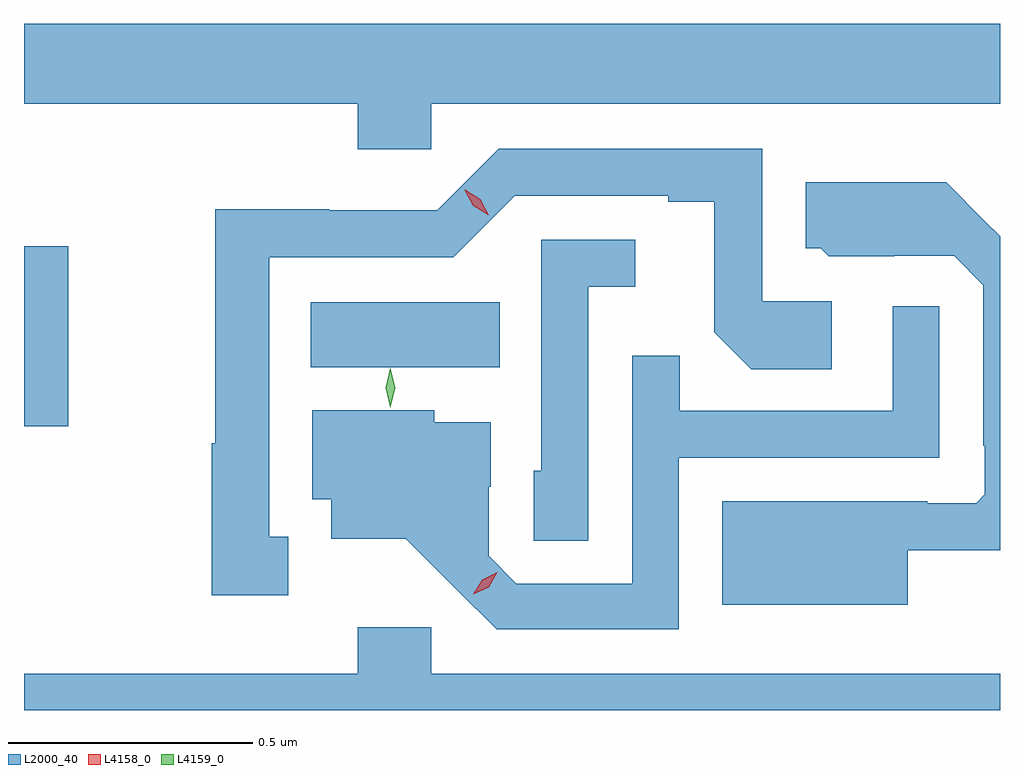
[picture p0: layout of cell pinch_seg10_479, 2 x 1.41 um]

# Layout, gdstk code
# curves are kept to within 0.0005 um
import gdstk
lib = gdstk.Library(unit=1e-6, precision=1e-09)
def R(c, l, rs):  # rectangles x0, y0, x1, y1
    for r in rs: c.add(gdstk.rectangle(r[:2], r[2:], *l))
def P(c, l, *ps):  # polygons
    for p in ps: c.add(gdstk.Polygon(p, *l))
L2000_40 = (2000, 40)
L4158_0 = (4158, 0)
L4159_0 = (4159, 0)

pinch_seg10_479 = lib.new_cell('pinch_seg10_479')
R(pinch_seg10_479, L2000_40, [(348.347,1303.652,348.438,1304.02), (348.935,1303.772,349.322,1303.906)])
P(pinch_seg10_479, L2000_40, [(349.182,1304.312),(350.347,1304.312),(350.347,1304.476),(348.347,1304.476),(348.347,1304.312),(349.031,1304.312),(349.031,1304.219),(349.182,1304.219)],
  [(348.889,1303.425),(348.85,1303.425),(348.85,1303.998),(349.227,1303.998),(349.353,1304.124),(349.667,1304.124),(349.667,1304.112),(349.761,1304.112),(349.761,1303.844),(349.837,1303.768),(350.002,1303.768),(350.002,1303.908),(349.86,1303.908),(349.86,1304.22),(349.32,1304.22),(349.194,1304.094),(348.972,1304.094),(348.972,1304.096),(348.739,1304.096),(348.739,1303.617),(348.732,1303.617),(348.732,1303.305),(348.889,1303.305)],
  [(350.158,1303.397),(350.347,1303.397),(350.347,1304.041),(350.237,1304.152),(349.949,1304.152),(349.949,1304.016),(349.98,1304.016),(349.996,1304),(350.13,1304),(350.13,1304.001),(350.253,1304.001),(350.313,1303.941),(350.313,1303.612),(350.316,1303.612),(350.316,1303.512),(350.298,1303.494),(350.198,1303.494),(350.198,1303.498),(349.778,1303.498),(349.778,1303.286),(350.158,1303.286)],
  [(349.503,1303.937),(349.6,1303.937),(349.6,1304.034),(349.407,1304.034),(349.407,1303.56),(349.392,1303.56),(349.392,1303.417),(349.503,1303.417)],
  [(349.689,1303.587),(350.223,1303.587),(350.223,1303.897),(350.127,1303.897),(350.127,1303.683),(349.691,1303.683),(349.691,1303.796),(349.593,1303.796),(349.593,1303.329),(349.356,1303.329),(349.299,1303.386),(349.299,1303.528),(349.303,1303.528),(349.303,1303.66),(349.188,1303.66),(349.188,1303.684),(348.938,1303.684),(348.938,1303.502),(348.977,1303.502),(348.977,1303.421),(349.129,1303.421),(349.316,1303.236),(349.689,1303.236)],
  [(350.347,1303.144),(349.182,1303.144),(349.182,1303.24),(349.031,1303.24),(349.031,1303.144),(348.347,1303.144),(348.347,1303.07),(350.347,1303.07)])
P(pinch_seg10_479, L4158_0, [(349.268,1303.307),(349.268,1303.307),(349.286,1303.337),(349.317,1303.352),(349.317,1303.352),(349.317,1303.352),(349.299,1303.322),(349.268,1303.307)],
  [(349.299,1304.084),(349.268,1304.103),(349.25,1304.135),(349.25,1304.136),(349.251,1304.136),(349.282,1304.117),(349.299,1304.084),(349.299,1304.084)])
P(pinch_seg10_479, L4159_0, [(349.097,1303.69),(349.097,1303.691),(349.088,1303.73),(349.098,1303.77),(349.098,1303.77),(349.098,1303.77),(349.108,1303.73),(349.097,1303.691)])

lib.write_gds('pinch_seg10_479.gds')
